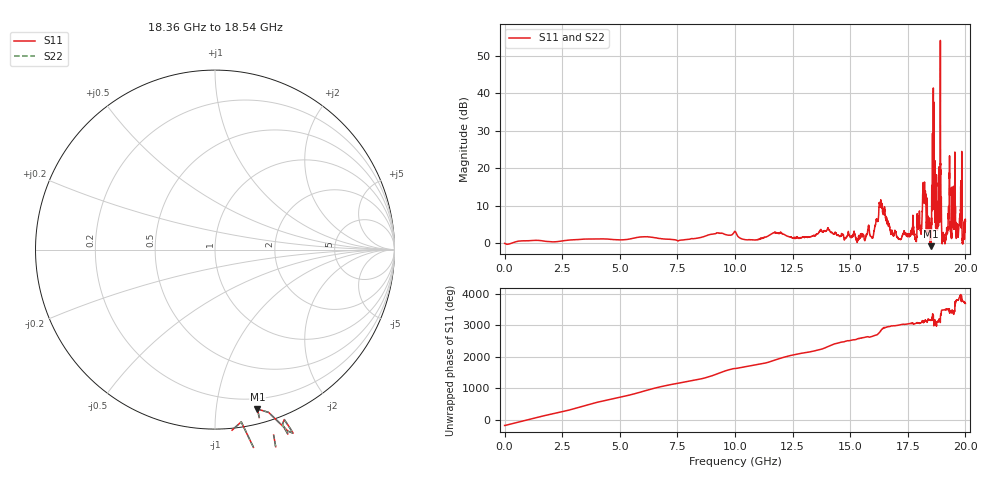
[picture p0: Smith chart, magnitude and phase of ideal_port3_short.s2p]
! Created with skrf (http://scikit-rf.org).
# GHz S RI R 50.0
!freq ReS11 ImS11 ReS21 ImS21 ReS12 ImS12 ReS22 ImS22
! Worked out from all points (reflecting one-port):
!   10001 points, 1 MHz to 20 GHz, reference 50 ohm
!   lowest |S11| = -0.7 dB at 18.49 GHz (marker M1), VSWR 23.66, Z = 5.67 - j64.7 ohm
!   phase of S11 starts at -180 deg and turns +3873 deg over the sweep
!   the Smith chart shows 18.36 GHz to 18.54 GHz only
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0.001  -1 -0.000251  0 0  0 0  -1 -0.000251
3.334833  0.6733 0.913  0 0  0 0  0.6733 0.913
6.668667  0.7783 -0.8717  0 0  0 0  0.7783 -0.8717
8.312584  -1.162 -0.1211  0 0  0 0  -1.162 -0.1211
9.184541  1.352 0.1896  0 0  0 0  1.352 0.1896
10.0005  -1.436 -0.2026  0 0  0 0  -1.436 -0.2026
13.33433  1.224 0.2149  0 0  0 0  1.224 0.2149
15.81621  -0.4253 1.585  0 0  0 0  -0.4253 1.585
16.27619  -0.9475 -3.252  0 0  0 0  -0.9475 -3.252
16.41618  2.611 0.982  0 0  0 0  2.611 0.982
16.66817  0.2741 1.744  0 0  0 0  0.2741 1.744
18.0101  -2.155 0.0313  0 0  0 0  -2.155 0.0313
18.21609  -0.302 -4.601  0 0  0 0  -0.302 -4.601
18.48808  0.236 -0.8881  0 0  0 0  0.236 -0.8881
18.72806  -0.553 1.939  0 0  0 0  -0.553 1.939
18.81206  -1.615 -1.948  0 0  0 0  -1.615 -1.948
18.81406  -1.961 -1.83  0 0  0 0  -1.961 -1.83
18.82206  -1.696 -1.485  0 0  0 0  -1.696 -1.485
19.01405  -0.4458 -1.046  0 0  0 0  -0.4458 -1.046
19.01605  -0.3908 -0.9743  0 0  0 0  -0.3908 -0.9743
19.02605  -0.3902 -1.197  0 0  0 0  -0.3902 -1.197
20  -0.1066 1.971  0 0  0 0  -0.1066 1.971
